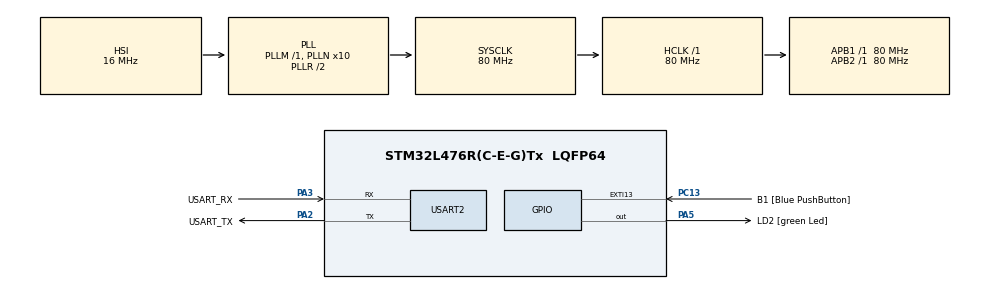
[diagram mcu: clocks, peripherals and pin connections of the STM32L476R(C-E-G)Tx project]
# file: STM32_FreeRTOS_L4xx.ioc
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FREERTOS.Tasks01=defaultTask,0,128,StartDefaultTask,Default,NULL,Dynamic,NULL,NULL
FREERTOS.configCHECK_FOR_STACK_OVERFLOW=1
FREERTOS.configUSE_IDLE_HOOK=0
FREERTOS.configUSE_MALLOC_FAILED_HOOK=1
FREERTOS.configUSE_TICK_HOOK=0
Mcu.Family=STM32L4
Mcu.Name=STM32L476R(C-E-G)Tx
Mcu.Package=LQFP64
NVIC.PriorityGroup=NVIC_PRIORITYGROUP_4
NVIC.USART2_IRQn=true\:5\:0\:false\:false\:true\:true\:true\:true\:true
PA13\ (JTMS-SWDIO).GPIO_Label=TMS
PA13\ (JTMS-SWDIO).Mode=Serial_Wire
PA13\ (JTMS-SWDIO).Signal=SYS_JTMS-SWDIO
PA14\ (JTCK-SWCLK).GPIO_Label=TCK
PA14\ (JTCK-SWCLK).Mode=Serial_Wire
PA14\ (JTCK-SWCLK).Signal=SYS_JTCK-SWCLK
PA2.GPIO_Label=USART_TX
PA2.GPIO_Mode=GPIO_MODE_AF_PP
PA2.GPIO_PuPd=GPIO_NOPULL
PA2.GPIO_Speed=GPIO_SPEED_FREQ_VERY_HIGH
PA2.Mode=Asynchronous
PA2.Signal=USART2_TX
PA3.GPIO_Label=USART_RX
PA3.GPIO_Mode=GPIO_MODE_AF_PP
PA3.GPIO_PuPd=GPIO_NOPULL
PA3.GPIO_Speed=GPIO_SPEED_FREQ_VERY_HIGH
PA3.Mode=Asynchronous
PA3.Signal=USART2_RX
PA5.GPIO_Label=LD2 [green Led]
PA5.GPIO_ModeDefaultOutputPP=GPIO_MODE_OUTPUT_PP
PA5.GPIO_PuPd=GPIO_NOPULL
PA5.GPIO_Speed=GPIO_SPEED_FREQ_LOW
PA5.Signal=GPIO_Output
PB3\ (JTDO-TRACESWO).GPIO_Label=SWO
PB3\ (JTDO-TRACESWO).Signal=SYS_JTDO-SWO
PC13.GPIO_Label=B1 [Blue PushButton]
PC13.GPIO_ModeDefaultEXTI=GPIO_MODE_IT_FALLING
PC13.GPIO_PuPd=GPIO_NOPULL
PC13.Signal=GPXTI13
PC14-OSC32_IN\ (PC14).Signal=RCC_OSC32_IN
PC15-OSC32_OUT\ (PC15).Signal=RCC_OSC32_OUT
PH0-OSC_IN\ (PH0).Mode=HSE-External-Oscillator
PH0-OSC_IN\ (PH0).Signal=RCC_OSC_IN
PH1-OSC_OUT\ (PH1).Mode=HSE-External-Oscillator
PH1-OSC_OUT\ (PH1).Signal=RCC_OSC_OUT
ProjectManager.HeapSize=0x200
ProjectManager.StackSize=0x400
ProjectManager.TargetToolchain=STM32CubeIDE
RCC.ADCFreq_Value=64000000
RCC.AHBFreq_Value=80000000
RCC.APB1Freq_Value=80000000
RCC.APB1TimFreq_Value=80000000
RCC.APB2Freq_Value=80000000
RCC.APB2TimFreq_Value=80000000
RCC.CortexFreq_Value=80000000
RCC.HCLKFreq_Value=80000000
RCC.HSE_VALUE=8000000
RCC.HSI_VALUE=16000000
RCC.LSE_VALUE=32768
RCC.MSI_VALUE=4000000
RCC.PLLN=10
RCC.PLLSourceVirtual=RCC_PLLSOURCE_HSI
RCC.PREFETCH_ENABLE=1
RCC.SYSCLKFreq_VALUE=80000000
RCC.SYSCLKSource=RCC_SYSCLKSOURCE_PLLCLK
RCC.USBFreq_Value=64000000
RCC.VCOOutputFreq_Value=160000000
USART2.VirtualMode-Asynchronous=VM_ASYNC
VP_FREERTOS_VS_CMSIS_V1.Mode=CMSIS_V1
VP_RTC_VS_RTC_Activate.Mode=RTC_Enabled
VP_RTC_VS_RTC_Calendar.Mode=RTC_Calendar
board=NUCLEO-L476RG

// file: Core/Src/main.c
/* USER CODE BEGIN Header */
/**
  ******************************************************************************
  * @file           : main.c
  * @brief          : Main program body
  ******************************************************************************
  * @attention
  *
  * Copyright (c) 2025 STMicroelectronics.
  * All rights reserved.
  *
  * This software is licensed under terms that can be found in the LICENSE file
  * in the root directory of this software component.
  * If no LICENSE file comes with this software, it is provided AS-IS.
  *
  ******************************************************************************
  */
/* USER CODE END Header */
#include "main.h"
#include "cmsis_os.h"

/* USER CODE BEGIN Includes */
#include<stdio.h>
#include<string.h>

/* USER CODE END Includes */

/* USER CODE BEGIN PM */
// Define a command structure to hold command number and optional arguments
typedef struct {
    uint8_t cmd_no;       // Command number
    uint8_t cmd_arg[10];  // Arguments for the command (currently unused)
} APP_CMD_t;
/* USER CODE END PM */

RTC_HandleTypeDef hrtc;
UART_HandleTypeDef huart2;

osThreadId defaultTaskHandle;
/* USER CODE BEGIN PV */

char msg[100];                        // Buffer for UART messages
uint8_t command_buffer[20];           // Buffer to store UART input
uint8_t command_length = 0;           // Length of command input

// Menu string displayed on UART
char menu[] =
    "\r\n1 -> LED_ON          "
    "\r\n2 -> LED_OFF         "
    "\r\n3 -> LED_TOGGLE      "
    "\r\n4 -> LED_READ_STATUS "
    "\r\n5 -> RTC_PRINT       "
    "\r\n0 -> EXIT            "
    "\r\nENTER YOUR OPTION:\r\n";

// Command codes
#define LED_ON          1
#define LED_OFF         2
#define LED_TOGGLE      3
#define LED_READ_STATUS 4
#define RTC_READ        5

// Task handles
TaskHandle_t xTaskHandle1=NULL;
TaskHandle_t xTaskHandle2=NULL;
TaskHandle_t xTaskHandle3=NULL;
TaskHandle_t xTaskHandle4=NULL;

// Queues
QueueHandle_t command_queue;     // Queue for command processing
QueueHandle_t uart_write_queue;  // Queue for UART output

/* USER CODE END PV */

void SystemClock_Config(void);
static void MX_GPIO_Init(void);
static void MX_USART2_UART_Init(void);
static void MX_RTC_Init(void);
void StartDefaultTask(void const * argument);

/* USER CODE BEGIN PFP */
uint8_t getCommandCode(uint8_t *buffer);   // Extract numeric command from buffer

void make_led_on(void);                     // Turn LED on
void make_led_off(void);                    // Turn LED off
void led_toggle(void);                      // Toggle LED
void read_led_status(char *task_msg);      // Send LED status to UART
void read_rtc_info(char *task_msg);        // Send RTC info to UART
void print_error_message(char *task_msg);  // Send error message to UART

uint8_t rx_byte;                            // UART received byte
/* USER CODE END PFP */

/* USER CODE BEGIN 0 */
// UART receive interrupt callback
void HAL_UART_RxCpltCallback(UART_HandleTypeDef *huart)
{
    BaseType_t xHigherPriorityTaskWoken = pdFALSE;

    if (huart->Instance == USART2)
    {
        // Echo received byte back to UART
        HAL_UART_Transmit_IT(&huart2, &rx_byte, 1);

        // Store byte in command buffer
        command_buffer[command_length++] = rx_byte;

        // If Enter key is pressed, notify Task1 (menu) and Task2 (command handler)
        if (rx_byte == '\r')
        {
            command_length = 0;
            vTaskNotifyGiveFromISR(xTaskHandle1, &xHigherPriorityTaskWoken);
            vTaskNotifyGiveFromISR(xTaskHandle2, &xHigherPriorityTaskWoken);
        }

        // Start next UART receive interrupt
        HAL_UART_Receive_IT(&huart2, &rx_byte, 1);

        // Yield if higher priority task was woken
        portYIELD_FROM_ISR(xHigherPriorityTaskWoken);
    }
}

// Simple function to send string to UART
void uart_msg(char *s)
{
    HAL_UART_Transmit(&huart2, (uint8_t*)s, strlen(s), 1000);
}
/* USER CODE END 0 */

/* USER CODE BEGIN 4 */

// Task1: Display menu on UART
void Task1_menu_display(void *params)
{
    char *pdata = menu;
    while(1)
    {
        xQueueSend(uart_write_queue, &pdata, portMAX_DELAY); // Send menu string to UART task
        xTaskNotifyWait(0, 0, NULL, portMAX_DELAY);          // Wait until Enter is pressed
    }
}

// Task2: Handle input commands
void Task2_cmd_handling(void *params)
{
    uint8_t cmd_code = 0;
    APP_CMD_t *new_cmd;

    while(1)
    {
        xTaskNotifyWait(0,0,NULL,portMAX_DELAY);           // Wait for notification from ISR

        // Allocate memory for command
        new_cmd = (APP_CMD_t*)pvPortMalloc(sizeof(APP_CMD_t));

        taskENTER_CRITICAL();
        cmd_code = getCommandCode(command_buffer);       // Extract numeric command
        new_cmd->cmd_no = cmd_code;
        taskEXIT_CRITICAL();

        // Send command pointer to processing queue
        xQueueSend(command_queue, &new_cmd, portMAX_DELAY);
    }
}

// Task3: Process commands
void Task3_cmd_processing(void *params)
{
    APP_CMD_t *new_cmd;
    char task_msg[50];

    while(1)
    {
        // Receive command from queue
        xQueueReceive(command_queue, (void*)&new_cmd, portMAX_DELAY);

        // Execute corresponding action
        if(new_cmd->cmd_no == LED_ON)
        {
            make_led_on();
        }
        else if(new_cmd->cmd_no == LED_OFF)
        {
            make_led_off();
        }
        else if(new_cmd->cmd_no == LED_TOGGLE)
        {
            led_toggle();
        }
        else if(new_cmd->cmd_no == LED_READ_STATUS)
        {
            read_led_status(task_msg);
        }
        else if(new_cmd->cmd_no == RTC_READ)
        {
            read_rtc_info(task_msg);
        }
        else
        {
            print_error_message(task_msg);
        }

        vPortFree(new_cmd); // Free allocated memory
    }
}

// Task4: Write messages to UART
void Task4_uart_write(void *params)
{
    char *data = NULL;
    while(1)
    {
         xQueueReceive(uart_write_queue, &data, portMAX_DELAY); // Wait for message
         uart_msg(data);                                        // Send to UART
    }
}

// Extract numeric command from buffer
uint8_t getCommandCode(uint8_t *buffer)
{
    return buffer[0] - 48; // Convert ASCII '0'-'9' to number
}

// LED control functions
void make_led_on(void)  { HAL_GPIO_WritePin(GPIOA, GPIO_PIN_5, SET); }
void make_led_off(void) { HAL_GPIO_WritePin(GPIOA, GPIO_PIN_5, RESET); }
void led_toggle(void)   { HAL_GPIO_TogglePin(GPIOA, GPIO_PIN_5); }

// Read LED status and send to UART
void read_led_status(char *task_msg)
{
    sprintf(task_msg , "\r\nLED status is : %d\r\n", HAL_GPIO_ReadPin(GPIOA, GPIO_PIN_5));
    xQueueSend(uart_write_queue, &task_msg, portMAX_DELAY);
}

// Read RTC time/date and send to UART
void read_rtc_info(char *task_msg)
{
    RTC_TimeTypeDef sTime = {0};
    RTC_DateTypeDef sDate = {0};

    // Initialize RTC if not already initialized
    if ((RTC->ISR & RTC_ISR_INITS) == 0)
    {
        sTime.Hours = 5; sTime.Minutes = 0; sTime.Seconds = 0;
        sTime.DayLightSaving = RTC_DAYLIGHTSAVING_NONE;
        sTime.StoreOperation = RTC_STOREOPERATION_RESET;
        HAL_RTC_SetTime(&hrtc, &sTime, RTC_FORMAT_BIN);

        sDate.WeekDay = RTC_WEEKDAY_THURSDAY;
        sDate.Month = RTC_MONTH_SEPTEMBER;
        sDate.Date = 11;
        sDate.Year = 25;
        HAL_RTC_SetDate(&hrtc, &sDate, RTC_FORMAT_BIN);
    }

    HAL_RTC_GetTime(&hrtc, &sTime, RTC_FORMAT_BIN);
    HAL_RTC_GetDate(&hrtc, &sDate, RTC_FORMAT_BIN);

    sprintf(task_msg, "Time: %02d:%02d:%02d | Date: %02d-%02d-20%02d\r\n",
            sTime.Hours, sTime.Minutes, sTime.Seconds,
            sDate.Date, sDate.Month, sDate.Year);

    xQueueSend(uart_write_queue, &task_msg, portMAX_DELAY);
}

// Send error message to UART
void print_error_message(char *task_msg)
{
    sprintf(task_msg, "\r\nInvalid command received\r\n");
    xQueueSend(uart_write_queue, &task_msg, portMAX_DELAY);
}

/* USER CODE END PFP */

/* Private user code ---------------------------------------------------------*/
/* USER CODE BEGIN 0 */

/* USER CODE END 0 */

/**
  * @brief  The application entry point.
  * @retval int
  */
int main(void)
{

  /* USER CODE BEGIN 1 */

  /* USER CODE END 1 */

  /* MCU Configuration--------------------------------------------------------*/

  /* Reset of all peripherals, Initializes the Flash interface and the Systick. */
  HAL_Init();

  /* USER CODE BEGIN Init */

  /* USER CODE END Init */

  /* Configure the system clock */
  SystemClock_Config();

  /* USER CODE BEGIN SysInit */

  /* USER CODE END SysInit */

  /* Initialize all configured peripherals */
  MX_GPIO_Init();
  MX_USART2_UART_Init();
  MX_RTC_Init();
  /* USER CODE BEGIN 2 */

  /* USER CODE END 2 */

  /* USER CODE BEGIN RTOS_MUTEX */
  /* add mutexes, ... */
  /* USER CODE END RTOS_MUTEX */

  /* USER CODE BEGIN RTOS_SEMAPHORES */
  /* add semaphores, ... */
  /* USER CODE END RTOS_SEMAPHORES */

  /* USER CODE BEGIN RTOS_TIMERS */
  /* start timers, add new ones, ... */
  /* USER CODE END RTOS_TIMERS */

  /* USER CODE BEGIN RTOS_QUEUES */
  /* add queues, ... */
  /* USER CODE END RTOS_QUEUES */

  /* Create the thread(s) */
  /* definition and creation of defaultTask */
 // osThreadDef(defaultTask, StartDefaultTask, osPriorityNormal, 0, 128);
 // defaultTaskHandle = osThreadCreate(osThread(defaultTask), NULL);

  /* USER CODE BEGIN RTOS_THREADS */
  sprintf(msg,"\r\nQUEUE IMPLEMETATION \r\n");
  uart_msg(msg);

  command_queue = xQueueCreate(10, sizeof(APP_CMD_t*));

  uart_write_queue = xQueueCreate(10, sizeof(char*));

  /* add threads, ... */
  if((command_queue != NULL ) && (uart_write_queue != NULL ))
  {
      // Create tasks
      xTaskCreate(Task1_menu_display, "TASK 1-MENU", configMINIMAL_STACK_SIZE, NULL, 1, &xTaskHandle1);
      xTaskCreate(Task2_cmd_handling, "TASK 2-CMD_HANDLING", configMINIMAL_STACK_SIZE, NULL, 2, &xTaskHandle2);
      xTaskCreate(Task3_cmd_processing, "TASK 3-CMD_PROCESS", configMINIMAL_STACK_SIZE, NULL, 2, &xTaskHandle3);
      xTaskCreate(Task4_uart_write, "TASK 4-UART_WRITE", configMINIMAL_STACK_SIZE, NULL, 2, &xTaskHandle4);

      HAL_UART_Receive_IT(&huart2, &rx_byte, 1); // Start UART receive interrupt

      osKernelStart(); // Start FreeRTOS scheduler
  }
  else
  {
	  sprintf(msg,"QUEUE Creation Failed\r\n");
	  uart_msg(msg);
  }
  /* USER CODE END RTOS_THREADS */

  /* We should never get here as control is now taken by the scheduler */

  /* Infinite loop */
  /* USER CODE BEGIN WHILE */
  while (1)
  {
    /* USER CODE END WHILE */

    /* USER CODE BEGIN 3 */
  }
  /* USER CODE END 3 */
}

/**
  * @brief System Clock Configuration
  * @retval None
  */
void SystemClock_Config(void)
{
  RCC_OscInitTypeDef RCC_OscInitStruct = {0};
  RCC_ClkInitTypeDef RCC_ClkInitStruct = {0};

  /** Configure the main internal regulator output voltage
  */
  if (HAL_PWREx_ControlVoltageScaling(PWR_REGULATOR_VOLTAGE_SCALE1) != HAL_OK)
  {
    Error_Handler();
  }

  /** Initializes the RCC Oscillators according to the specified parameters
  * in the RCC_OscInitTypeDef structure.
  */
  RCC_OscInitStruct.OscillatorType = RCC_OSCILLATORTYPE_HSI|RCC_OSCILLATORTYPE_LSI;
  RCC_OscInitStruct.HSIState = RCC_HSI_ON;
  RCC_OscInitStruct.HSICalibrationValue = RCC_HSICALIBRATION_DEFAULT;
  RCC_OscInitStruct.LSIState = RCC_LSI_ON;
  RCC_OscInitStruct.PLL.PLLState = RCC_PLL_ON;
  RCC_OscInitStruct.PLL.PLLSource = RCC_PLLSOURCE_HSI;
  RCC_OscInitStruct.PLL.PLLM = 1;
  RCC_OscInitStruct.PLL.PLLN = 10;
  RCC_OscInitStruct.PLL.PLLP = RCC_PLLP_DIV7;
  RCC_OscInitStruct.PLL.PLLQ = RCC_PLLQ_DIV2;
  RCC_OscInitStruct.PLL.PLLR = RCC_PLLR_DIV2;
  if (HAL_RCC_OscConfig(&RCC_OscInitStruct) != HAL_OK)
  {
    Error_Handler();
  }

  /** Initializes the CPU, AHB and APB buses clocks
  */
  RCC_ClkInitStruct.ClockType = RCC_CLOCKTYPE_HCLK|RCC_CLOCKTYPE_SYSCLK
                              |RCC_CLOCKTYPE_PCLK1|RCC_CLOCKTYPE_PCLK2;
  RCC_ClkInitStruct.SYSCLKSource = RCC_SYSCLKSOURCE_PLLCLK;
  RCC_ClkInitStruct.AHBCLKDivider = RCC_SYSCLK_DIV1;
  RCC_ClkInitStruct.APB1CLKDivider = RCC_HCLK_DIV1;
  RCC_ClkInitStruct.APB2CLKDivider = RCC_HCLK_DIV1;

  if (HAL_RCC_ClockConfig(&RCC_ClkInitStruct, FLASH_LATENCY_4) != HAL_OK)
  {
    Error_Handler();
  }
}

/**
  * @brief RTC Initialization Function
  * @param None
  * @retval None
  */
static void MX_RTC_Init(void)
{

  /* USER CODE BEGIN RTC_Init 0 */

  /* USER CODE END RTC_Init 0 */

  RTC_TimeTypeDef sTime = {0};
  RTC_DateTypeDef sDate = {0};

  /* USER CODE BEGIN RTC_Init 1 */

  /* USER CODE END RTC_Init 1 */

  /** Initialize RTC Only
  */
  hrtc.Instance = RTC;
  hrtc.Init.HourFormat = RTC_HOURFORMAT_24;
  hrtc.Init.AsynchPrediv = 127;
  hrtc.Init.SynchPrediv = 255;
  hrtc.Init.OutPut = RTC_OUTPUT_DISABLE;
  hrtc.Init.OutPutRemap = RTC_OUTPUT_REMAP_NONE;
  hrtc.Init.OutPutPolarity = RTC_OUTPUT_POLARITY_HIGH;
  hrtc.Init.OutPutType = RTC_OUTPUT_TYPE_OPENDRAIN;
  if (HAL_RTC_Init(&hrtc) != HAL_OK)
  {
    Error_Handler();
  }

  /* USER CODE BEGIN Check_RTC_BKUP */

  /* USER CODE END Check_RTC_BKUP */

  /** Initialize RTC and set the Time and Date
  */
  sTime.Hours = 0x0;
  sTime.Minutes = 0x0;
  sTime.Seconds = 0x0;
  sTime.DayLightSaving = RTC_DAYLIGHTSAVING_NONE;
  sTime.StoreOperation = RTC_STOREOPERATION_RESET;
  if (HAL_RTC_SetTime(&hrtc, &sTime, RTC_FORMAT_BCD) != HAL_OK)
  {
    Error_Handler();
  }
  sDate.WeekDay = RTC_WEEKDAY_MONDAY;
  sDate.Month = RTC_MONTH_JANUARY;
  sDate.Date = 0x1;
  sDate.Year = 0x0;

  if (HAL_RTC_SetDate(&hrtc, &sDate, RTC_FORMAT_BCD) != HAL_OK)
  {
    Error_Handler();
  }
  /* USER CODE BEGIN RTC_Init 2 */

  /* USER CODE END RTC_Init 2 */

}

/**
  * @brief USART2 Initialization Function
  * @param None
  * @retval None
  */
static void MX_USART2_UART_Init(void)
{

  /* USER CODE BEGIN USART2_Init 0 */

  /* USER CODE END USART2_Init 0 */

  /* USER CODE BEGIN USART2_Init 1 */

  /* USER CODE END USART2_Init 1 */
  huart2.Instance = USART2;
  huart2.Init.BaudRate = 115200;
  huart2.Init.WordLength = UART_WORDLENGTH_8B;
  huart2.Init.StopBits = UART_STOPBITS_1;
  huart2.Init.Parity = UART_PARITY_NONE;
  huart2.Init.Mode = UART_MODE_TX_RX;
  huart2.Init.HwFlowCtl = UART_HWCONTROL_NONE;
  huart2.Init.OverSampling = UART_OVERSAMPLING_16;
  huart2.Init.OneBitSampling = UART_ONE_BIT_SAMPLE_DISABLE;
  huart2.AdvancedInit.AdvFeatureInit = UART_ADVFEATURE_NO_INIT;
  if (HAL_UART_Init(&huart2) != HAL_OK)
  {
    Error_Handler();
  }
  /* USER CODE BEGIN USART2_Init 2 */

  /* USER CODE END USART2_Init 2 */

}

/**
  * @brief GPIO Initialization Function
  * @param None
  * @retval None
  */
static void MX_GPIO_Init(void)
{
  GPIO_InitTypeDef GPIO_InitStruct = {0};
  /* USER CODE BEGIN MX_GPIO_Init_1 */

  /* USER CODE END MX_GPIO_Init_1 */

  /* GPIO Ports Clock Enable */
  __HAL_RCC_GPIOC_CLK_ENABLE();
  __HAL_RCC_GPIOH_CLK_ENABLE();
  __HAL_RCC_GPIOA_CLK_ENABLE();
  __HAL_RCC_GPIOB_CLK_ENABLE();

  /*Configure GPIO pin Output Level */
  HAL_GPIO_WritePin(LD2_GPIO_Port, LD2_Pin, GPIO_PIN_RESET);

  /*Configure GPIO pin : B1_Pin */
  GPIO_InitStruct.Pin = B1_Pin;
  GPIO_InitStruct.Mode = GPIO_MODE_IT_FALLING;
  GPIO_InitStruct.Pull = GPIO_NOPULL;
  HAL_GPIO_Init(B1_GPIO_Port, &GPIO_InitStruct);

  /*Configure GPIO pin : LD2_Pin */
  GPIO_InitStruct.Pin = LD2_Pin;
  GPIO_InitStruct.Mode = GPIO_MODE_OUTPUT_PP;
  GPIO_InitStruct.Pull = GPIO_NOPULL;
  GPIO_InitStruct.Speed = GPIO_SPEED_FREQ_LOW;
  HAL_GPIO_Init(LD2_GPIO_Port, &GPIO_InitStruct);

  /* USER CODE BEGIN MX_GPIO_Init_2 */

  /* USER CODE END MX_GPIO_Init_2 */
}

/* USER CODE BEGIN 4 */

/* USER CODE END 4 */

void StartDefaultTask(void const * argument)
{
  for(;;)
  {
    osDelay(1);
  }
}

void Error_Handler(void)
{
  __disable_irq();
  while (1)
  {
  }
}
